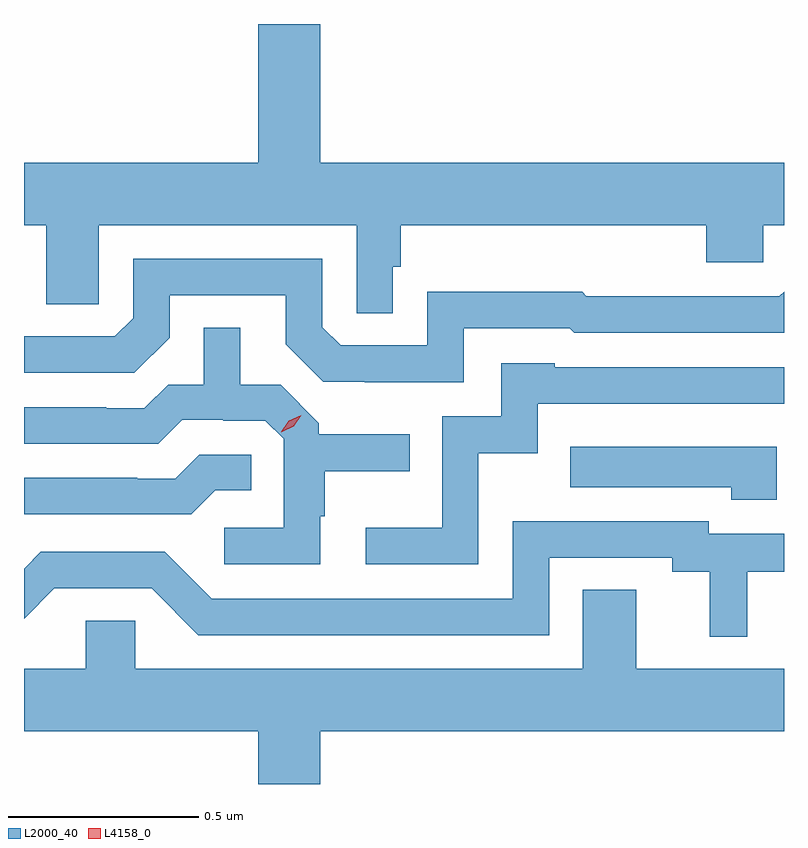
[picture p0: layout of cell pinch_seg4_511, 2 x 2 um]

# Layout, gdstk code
import gdstk
lib = gdstk.Library(unit=1e-6, precision=1e-09)
def P(c, l, *ps):  # polygons
    for p in ps: c.add(gdstk.Polygon(p, *l))
L2000_40 = (2000, 40)
L4158_0 = (4158, 0)

pinch_seg4_511 = lib.new_cell('pinch_seg4_511')
P(pinch_seg4_511, L2000_40, [(1004.523,756.75),(1004.543,756.75),(1004.543,756.86),(1005.347,756.86),(1005.347,756.762),(1005.498,756.762),(1005.498,756.86),(1005.552,756.86),(1005.552,757.024),(1004.332,757.024),(1004.332,757.389),(1004.168,757.389),(1004.168,757.024),(1003.552,757.024),(1003.552,756.86),(1003.61,756.86),(1003.61,756.652),(1003.749,756.652),(1003.749,756.86),(1004.427,756.86),(1004.427,756.628),(1004.523,756.628)],
  [(1004.709,756.588),(1004.988,756.588),(1005,756.576),(1005.552,756.576),(1005.552,756.684),(1005.54,756.672),(1005.136,756.672),(1005.136,756.673),(1005.032,756.673),(1005.021,756.685),(1004.613,756.685),(1004.613,756.543),(1004.385,756.543),(1004.337,756.591),(1004.337,756.771),(1003.839,756.771),(1003.839,756.615),(1003.791,756.567),(1003.552,756.567),(1003.552,756.471),(1003.842,756.471),(1003.935,756.564),(1003.935,756.675),(1004.241,756.675),(1004.241,756.546),(1004.339,756.448),(1004.449,756.448),(1004.449,756.446),(1004.709,756.446)],
  [(1004.331,756.093),(1004.344,756.093),(1004.344,756.212),(1004.567,756.212),(1004.567,756.31),(1004.328,756.31),(1004.328,756.339),(1004.227,756.44),(1004.121,756.44),(1004.121,756.59),(1004.025,756.59),(1004.025,756.44),(1003.931,756.44),(1003.869,756.378),(1003.769,756.378),(1003.769,756.381),(1003.552,756.381),(1003.552,756.285),(1003.905,756.285),(1003.968,756.348),(1004.076,756.348),(1004.076,756.345),(1004.187,756.345),(1004.235,756.297),(1004.235,756.063),(1004.079,756.063),(1004.079,755.967),(1004.331,755.967)],
  [(1004.748,756.26),(1004.904,756.26),(1004.904,756.39),(1005.552,756.39),(1005.552,756.486),(1004.949,756.486),(1004.949,756.496),(1004.808,756.496),(1004.808,756.357),(1004.652,756.357),(1004.652,756.064),(1004.451,756.064),(1004.451,755.967),(1004.748,755.967)],
  [(1005.533,756.277),(1004.989,756.277),(1004.989,756.17),(1005.413,756.17),(1005.413,756.137),(1005.533,756.137)],
  [(1004.055,756.162),(1004.15,756.162),(1004.15,756.255),(1004.013,756.255),(1003.95,756.192),(1003.85,756.192),(1003.85,756.195),(1003.552,756.195),(1003.552,756.099),(1003.992,756.099)],
  [(1005.455,755.947),(1005.552,755.947),(1005.552,756.048),(1005.354,756.048),(1005.354,756.081),(1004.838,756.081),(1004.838,755.877),(1004.046,755.877),(1003.923,756),(1003.596,756),(1003.552,755.956),(1003.552,755.824),(1003.632,755.904),(1003.888,755.904),(1004.011,755.781),(1004.934,755.781),(1004.934,755.985),(1005.258,755.985),(1005.258,755.947),(1005.356,755.947),(1005.356,755.777),(1005.455,755.777)],
  [(1004.332,755.528),(1005.552,755.528),(1005.552,755.692),(1005.163,755.692),(1005.163,755.9),(1005.023,755.9),(1005.023,755.692),(1003.845,755.692),(1003.845,755.819),(1003.715,755.819),(1003.715,755.692),(1003.552,755.692),(1003.552,755.528),(1004.168,755.528),(1004.168,755.389),(1004.332,755.389)])
P(pinch_seg4_511, L4158_0, [(1004.229,756.315),(1004.229,756.316),(1004.249,756.345),(1004.282,756.359),(1004.282,756.359),(1004.282,756.359),(1004.262,756.33),(1004.229,756.315)])

lib.write_gds('pinch_seg4_511.gds')
